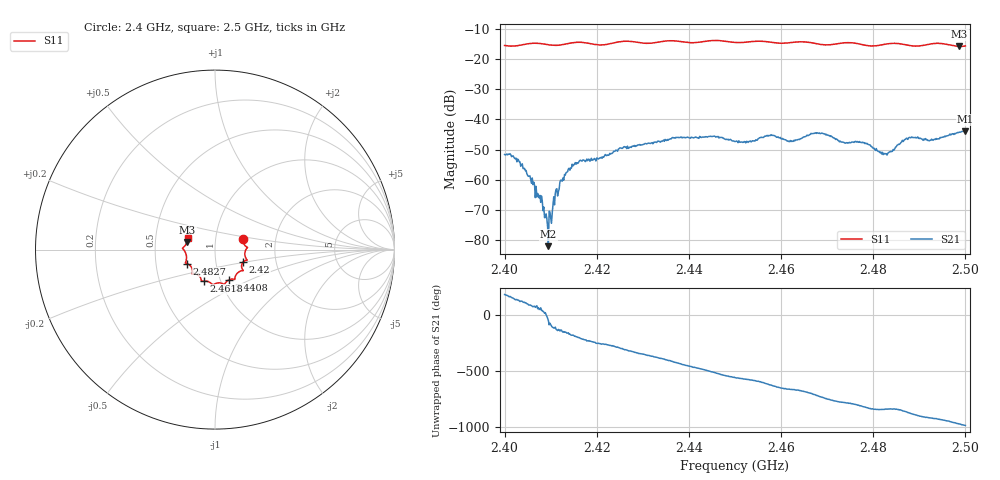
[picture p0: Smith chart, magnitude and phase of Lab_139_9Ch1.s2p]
# Hz S RI R 50
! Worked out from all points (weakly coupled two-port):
!   601 points, 2.4 GHz to 2.5 GHz, reference 50 ohm
!   highest |S21| = -43.88 dB at 2.5 GHz (marker M1); lowest = -81.9 dB at 2.4095 GHz (marker M2)
!   lowest |S11| = -15.9 dB at 2.4987 GHz (marker M3), VSWR 1.38, Z = 36.5 + j3.22 ohm
!   |S11| at or under -10 dB: start of sweep to end of sweep
!   S12 and S22 are empty: the file has one direction only
!   S11 on the Smith chart (normalised r, x): 2.4 GHz: 1.35, +0.17; 2.42 GHz: 1.36, -0.19; 2.4408 GHz: 1.10, -0.38; 2.4618 GHz: 0.84, -0.30; 2.4827 GHz: 0.72, -0.12; 2.5 GHz: 0.73, +0.09
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2.4e9  0.1553 0.0618  -0.00262 9.33e-05  0 0  0 0
2.404167e9  0.1723 0.0175  -0.000486 0.00146  0 0  0 0
2.407667e9  0.1798 0.0101  0.000367 0.000417  0 0  0 0
2.409e9  0.1739 0.00294  0.000275 -1.17e-05  0 0  0 0
2.4095e9  0.1717 -0.00134  4.7e-05 -6.51e-05  0 0  0 0
2.409833e9  0.1698 -0.00463  6.93e-05 -0.000288  0 0  0 0
2.410833e9  0.1668 -0.0159  -0.000193 -0.000335  0 0  0 0
2.4125e9  0.1677 -0.0363  -0.000828 -0.00047  0 0  0 0
2.416667e9  0.1786 -0.059  -0.0017 0.00117  0 0  0 0
2.42e9  0.1572 -0.0693  -0.000601 0.00222  0 0  0 0
2.433333e9  0.112 -0.1528  0.00399 -0.00183  0 0  0 0
2.440833e9  0.0781 -0.1684  -0.00151 -0.00474  0 0  0 0
2.45e9  0.0272 -0.1853  -0.00404 0.00148  0 0  0 0
2.457833e9  -0.0223 -0.1872  -0.000343 0.00558  0 0  0 0
2.461833e9  -0.0609 -0.1752  0.00234 0.00359  0 0  0 0
2.466667e9  -0.0764 -0.1681  0.0055 0.00186  0 0  0 0
2.478167e9  -0.1258 -0.1127  -0.000763 -0.00392  0 0  0 0
2.482667e9  -0.1577 -0.0776  -0.00132 -0.00237  0 0  0 0
2.483333e9  -0.1616 -0.0764  -0.00136 -0.00249  0 0  0 0
2.4875e9  -0.1594 -0.0554  -0.00408 -0.00228  0 0  0 0
2.498667e9  -0.1549 0.043  -0.00192 0.00587  0 0  0 0
2.5e9  -0.1514 0.0627  -0.000536 0.00638  0 0  0 0
